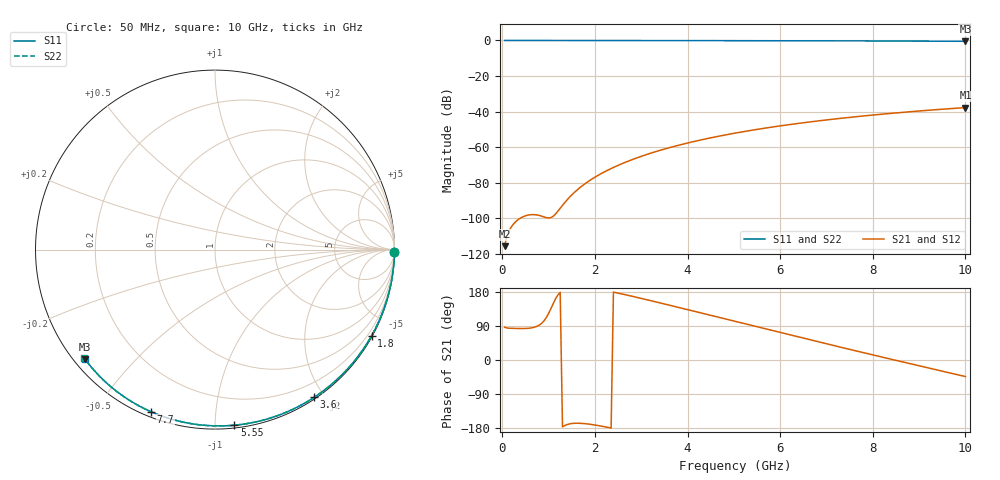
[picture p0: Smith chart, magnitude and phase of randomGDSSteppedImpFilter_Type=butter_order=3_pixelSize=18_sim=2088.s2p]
! freq	dB(S11)	phase(S11)	dB(S12)	phase(S12)
!  dB(S21)	phase(S21)	dB(S22)	phase(S22)
!S-par simulation data
#  GHz  S  DB  R 50
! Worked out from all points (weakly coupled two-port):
!   200 points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, 50 MHz to 10 GHz, reference 50 ohm
!   highest |S21| = -37.76 dB at 10 GHz (marker M1); lowest = -115.7 dB at 50 MHz (marker M2)
!   lowest |S11| = -0.5 dB at 10 GHz (marker M3), VSWR 36.76, Z = 1.54 - j18.3 ohm
!   |S11| at or under -10 dB: nowhere
!   |S22| runs from -0.5 to 0.0 dB; largest |S21 - S12| = 0
!   S11 on the Smith chart (normalised r, x): 50 MHz: open; 1.8 GHz: 0.03, -3.90; 3.6 GHz: 0.02, -1.88; 5.55 GHz: 0.02, -1.12; 7.7 GHz: 0.02, -0.68; 10 GHz: 0.03, -0.37
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0.05  -0.00 -0.8  -115.72 86.4  -115.72 86.4  -0.00 -0.8
0.45  -0.01 -7.3  -99.15 83.0  -99.15 83.0  -0.01 -7.3
0.9  -0.02 -14.5  -99.25 103.2  -99.25 103.2  -0.02 -14.6
1.75  -0.04 -28.0  -81.29 -167.6  -81.29 -167.6  -0.04 -28.1
1.8  -0.04 -28.8  -80.34 -168.2  -80.34 -168.2  -0.04 -28.8
1.85  -0.04 -29.5  -79.43 -168.9  -79.43 -168.9  -0.04 -29.6
2  -0.04 -31.9  -76.93 -171.5  -76.93 -171.5  -0.04 -32.0
2.15  -0.04 -34.2  -74.69 -174.7  -74.69 -174.7  -0.04 -34.3
2.35  -0.05 -37.3  -72.04 -179.6  -72.04 -179.6  -0.05 -37.4
2.55  -0.05 -40.4  -69.68 175.2  -69.68 175.2  -0.05 -40.5
2.95  -0.06 -46.4  -65.64 164.0  -65.64 164.0  -0.06 -46.6
3.4  -0.07 -53.2  -61.85 150.9  -61.85 150.9  -0.07 -53.3
3.6  -0.08 -56.1  -60.37 144.9  -60.37 144.9  -0.08 -56.3
4.3  -0.09 -66.3  -55.89 123.8  -55.89 123.8  -0.09 -66.5
5.05  -0.12 -76.8  -52.02 101.1  -52.02 101.1  -0.12 -77.1
5.55  -0.14 -83.7  -49.82 86.0  -49.82 86.0  -0.14 -83.9
6.1  -0.16 -91.0  -47.69 69.5  -47.69 69.5  -0.16 -91.3
6.7  -0.19 -98.9  -45.63 51.6  -45.63 51.6  -0.19 -99.2
7.7  -0.26 -111.6  -42.73 22.2  -42.73 22.2  -0.26 -112.0
8.35  -0.31 -119.7  -41.11 3.4  -41.11 3.4  -0.31 -120.1
9.2  -0.38 -130.1  -39.26 -21.0  -39.26 -21.0  -0.39 -130.6
10  -0.47 -139.9  -37.76 -43.6  -37.76 -43.6  -0.47 -140.4
